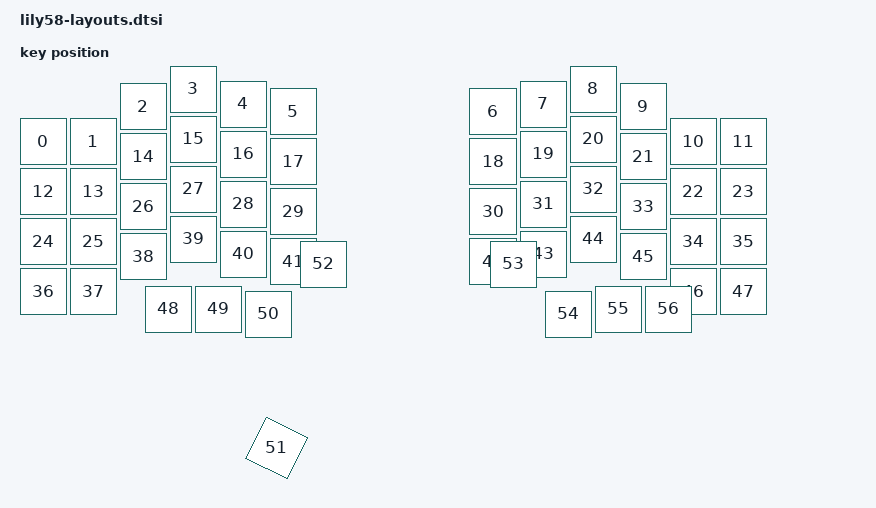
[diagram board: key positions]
#include <physical_layouts.dtsi>

/ {
    layout_0: layout_0 {
        compatible = "zmk,physical-layout";
        display-name = "LILY58 Layout";

        kscan = <&kscan0>;
        transform = <&default_transform>;

        keys
            // Fila 0
            = <&key_physical_attrs 100 100    0  105    0    0    0> // 0
            , <&key_physical_attrs 100 100  100  105    0    0    0> // 1
            , <&key_physical_attrs 100 100  200   35    0    0    0> // 2
            , <&key_physical_attrs 100 100  300    0    0    0    0> // 3
            , <&key_physical_attrs 100 100  400   30    0    0    0> // 4
            , <&key_physical_attrs 100 100  500   45    0    0    0> // 5
            
            , <&key_physical_attrs 100 100  900   45    0    0    0> // 6
            , <&key_physical_attrs 100 100 1000   30    0    0    0> // 7
            , <&key_physical_attrs 100 100 1100    0    0    0    0> // 8
            , <&key_physical_attrs 100 100 1200   35    0    0    0> // 9
            , <&key_physical_attrs 100 100 1300  105    0    0    0> // 10
            , <&key_physical_attrs 100 100 1400  105    0    0    0> // 11

            // Fila 1
            , <&key_physical_attrs 100 100    0  205    0    0    0> // 12
            , <&key_physical_attrs 100 100  100  205    0    0    0> // 13
            , <&key_physical_attrs 100 100  200  135    0    0    0> // 14
            , <&key_physical_attrs 100 100  300  100    0    0    0> // 15
            , <&key_physical_attrs 100 100  400  130    0    0    0> // 16
            , <&key_physical_attrs 100 100  500  145    0    0    0> // 17
            
            , <&key_physical_attrs 100 100  900  145    0    0    0> // 18
            , <&key_physical_attrs 100 100 1000  130    0    0    0> // 19
            , <&key_physical_attrs 100 100 1100  100    0    0    0> // 20
            , <&key_physical_attrs 100 100 1200  135    0    0    0> // 21
            , <&key_physical_attrs 100 100 1300  205    0    0    0> // 22
            , <&key_physical_attrs 100 100 1400  205    0    0    0> // 23

            // Fila 2
            , <&key_physical_attrs 100 100    0  305    0    0    0> // 24
            , <&key_physical_attrs 100 100  100  305    0    0    0> // 25
            , <&key_physical_attrs 100 100  200  235    0    0    0> // 26
            , <&key_physical_attrs 100 100  300  200    0    0    0> // 27
            , <&key_physical_attrs 100 100  400  230    0    0    0> // 28
            , <&key_physical_attrs 100 100  500  245    0    0    0> // 29
            
            , <&key_physical_attrs 100 100  900  245    0    0    0> // 30
            , <&key_physical_attrs 100 100 1000  230    0    0    0> // 31
            , <&key_physical_attrs 100 100 1100  200    0    0    0> // 32
            , <&key_physical_attrs 100 100 1200  235    0    0    0> // 33
            , <&key_physical_attrs 100 100 1300  305    0    0    0> // 34
            , <&key_physical_attrs 100 100 1400  305    0    0    0> // 35

            // Fila 3
            , <&key_physical_attrs 100 100    0  405    0    0    0> // 36
            , <&key_physical_attrs 100 100  100  405    0    0    0> // 37
            , <&key_physical_attrs 100 100  200  335    0    0    0> // 38
            , <&key_physical_attrs 100 100  300  300    0    0    0> // 39
            , <&key_physical_attrs 100 100  400  330    0    0    0> // 40
            , <&key_physical_attrs 100 100  500  345    0    0    0> // 41
            
            , <&key_physical_attrs 100 100  900  345    0    0    0> // 42
            , <&key_physical_attrs 100 100 1000  330    0    0    0> // 43
            , <&key_physical_attrs 100 100 1100  300    0    0    0> // 44
            , <&key_physical_attrs 100 100 1200  335    0    0    0> // 45
            , <&key_physical_attrs 100 100 1300  405    0    0    0> // 46
            , <&key_physical_attrs 100 100 1400  405    0    0    0> // 47

            // Pulgares
            , <&key_physical_attrs 100 100  250  440    0    0    0> // 48
            , <&key_physical_attrs 100 100  350  440    0    0    0> // 49
            , <&key_physical_attrs 100 100  450  450    0    0    0> // 50
            , <&key_physical_attrs 100 100  550  460  2600   0  460> // 51
            , <&key_physical_attrs 100 100  560  350    0    0    0> // 52

            , <&key_physical_attrs 100 100  940  350    0    0    0> // 53
            , <&key_physical_attrs 100 100  950  460 (0 - 2600) 0 460> // 54 - Cambiado a expresión matemática
            , <&key_physical_attrs 100 100 1050  450    0    0    0> // 55
            , <&key_physical_attrs 100 100 1150  440    0    0    0> // 56
            , <&key_physical_attrs 100 100 1250  440    0    0    0> // 57
            ;
    };

    LILY58_position_map {
        compatible = "zmk,physical-layout-position-map";
        complete;
        LAYOUT {
            physical-layout = <&layout_0>;
            positions
                = < 0  1  2  3  4  5    6  7  8  9 10 11>
                , <12 13 14 15 16 17   18 19 20 21 22 23>
                , <24 25 26 27 28 29   30 31 32 33 34 35>
                , <36 37 38 39 40 41   42 43 44 45 46 47>
                , <      48 49 50 51 52 53 54 55 56 57   >;
        };
    };
};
